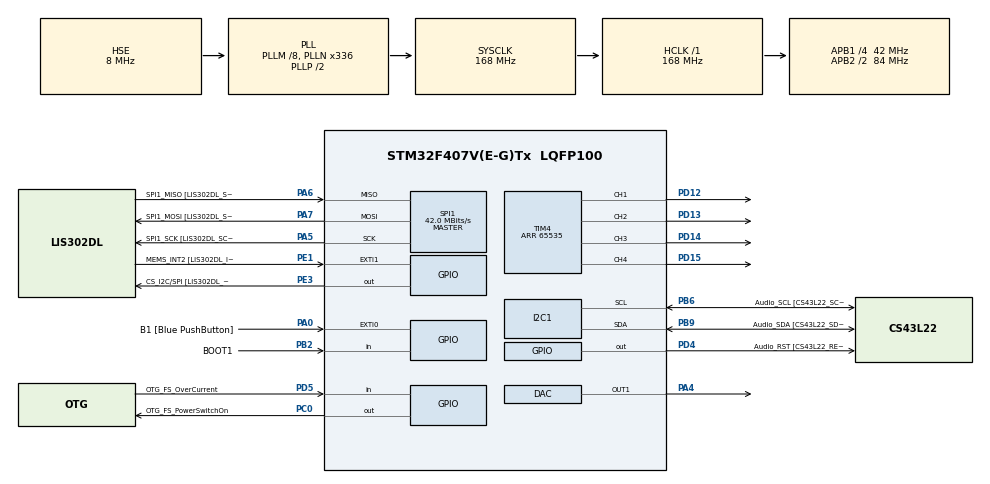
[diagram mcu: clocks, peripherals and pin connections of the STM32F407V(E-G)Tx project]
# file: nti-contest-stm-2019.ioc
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Mcu.Family=STM32F4
Mcu.Name=STM32F407V(E-G)Tx
Mcu.Package=LQFP100
NVIC.PriorityGroup=NVIC_PRIORITYGROUP_4
NVIC.TIM1_UP_TIM10_IRQn=true\:0\:0\:false\:false\:true\:true\:true
PA0-WKUP.GPIO_Label=B1 [Blue PushButton]
PA0-WKUP.GPIO_ModeDefaultEXTI=GPIO_MODE_EVT_RISING
PA0-WKUP.GPIO_PuPd=GPIO_NOPULL
PA0-WKUP.Signal=GPXTI0
PA10.GPIO_Label=OTG_FS_ID
PA10.GPIO_Mode=GPIO_MODE_AF_PP
PA10.GPIO_PuPd=GPIO_NOPULL
PA10.GPIO_Speed=GPIO_SPEED_FREQ_LOW
PA10.Signal=USB_OTG_FS_ID
PA11.GPIO_Label=OTG_FS_DM
PA11.GPIO_Mode=GPIO_MODE_AF_PP
PA11.GPIO_PuPd=GPIO_NOPULL
PA11.GPIO_Speed=GPIO_SPEED_FREQ_LOW
PA11.Signal=USB_OTG_FS_DM
PA12.GPIO_Label=OTG_FS_DP
PA12.GPIO_Mode=GPIO_MODE_AF_PP
PA12.GPIO_PuPd=GPIO_NOPULL
PA12.GPIO_Speed=GPIO_SPEED_FREQ_LOW
PA12.Signal=USB_OTG_FS_DP
PA13.GPIO_Label=SWDIO
PA13.Mode=Serial_Wire
PA13.Signal=SYS_JTMS-SWDIO
PA14.GPIO_Label=SWCLK
PA14.Mode=Serial_Wire
PA14.Signal=SYS_JTCK-SWCLK
PA4.Signal=COMP_DAC1_group
PA5.GPIO_Label=SPI1_SCK [LIS302DL_SCL/SPC]
PA5.GPIO_Mode=GPIO_MODE_AF_PP
PA5.GPIO_PuPd=GPIO_NOPULL
PA5.GPIO_Speed=GPIO_SPEED_FREQ_LOW
PA5.Mode=Full_Duplex_Master
PA5.Signal=SPI1_SCK
PA6.GPIO_Label=SPI1_MISO [LIS302DL_SDO]
PA6.GPIO_Mode=GPIO_MODE_AF_PP
PA6.GPIO_PuPd=GPIO_NOPULL
PA6.GPIO_Speed=GPIO_SPEED_FREQ_LOW
PA6.Mode=Full_Duplex_Master
PA6.Signal=SPI1_MISO
PA7.GPIO_Label=SPI1_MOSI [LIS302DL_SDA/SDI/SDO]
PA7.GPIO_Mode=GPIO_MODE_AF_PP
PA7.GPIO_PuPd=GPIO_NOPULL
PA7.GPIO_Speed=GPIO_SPEED_FREQ_LOW
PA7.Mode=Full_Duplex_Master
PA7.Signal=SPI1_MOSI
PA9.GPIO_Label=VBUS_FS
PA9.GPIO_Mode=GPIO_MODE_INPUT
PA9.GPIO_PuPd=GPIO_NOPULL
PA9.Signal=USB_OTG_FS_VBUS
PB10.GPIO_Label=CLK_IN [MP45DT02_CLK]
PB10.GPIO_Mode=GPIO_MODE_AF_PP
PB10.GPIO_PuPd=GPIO_NOPULL
PB10.GPIO_Speed=GPIO_SPEED_FREQ_LOW
PB10.Signal=I2S2_CK
PB2.GPIO_Label=BOOT1
PB2.GPIO_Mode=GPIO_MODE_INPUT
PB2.GPIO_PuPd=GPIO_NOPULL
PB2.Signal=GPIO_Input
PB3.GPIO_Label=SWO
PB3.Signal=SYS_JTDO-SWO
PB6.GPIO_Label=Audio_SCL [CS43L22_SCL]
PB6.GPIO_Mode=GPIO_MODE_AF_OD
PB6.GPIO_PuPd=GPIO_NOPULL
PB6.GPIO_Speed=GPIO_SPEED_FREQ_LOW
PB6.Mode=I2C
PB6.Signal=I2C1_SCL
PB9.GPIO_Label=Audio_SDA [CS43L22_SDA]
PB9.GPIO_Mode=GPIO_MODE_AF_OD
PB9.GPIO_PuPd=GPIO_NOPULL
PB9.GPIO_Speed=GPIO_SPEED_FREQ_LOW
PB9.Mode=I2C
PB9.Signal=I2C1_SDA
PC0.GPIO_Label=OTG_FS_PowerSwitchOn
PC0.GPIO_PuPd=GPIO_NOPULL
PC0.GPIO_Speed=GPIO_SPEED_FREQ_LOW
PC0.PinState=GPIO_PIN_SET
PC0.Signal=GPIO_Output
PC10.GPIO_Label=I2S3_SCK [CS43L22_SCLK]
PC10.GPIO_Mode=GPIO_MODE_AF_PP
PC10.GPIO_PuPd=GPIO_NOPULL
PC10.GPIO_Speed=GPIO_SPEED_FREQ_LOW
PC10.Signal=I2S3_CK
PC12.GPIO_Label=I2S3_SD [CS43L22_SDIN]
PC12.GPIO_Mode=GPIO_MODE_AF_PP
PC12.GPIO_PuPd=GPIO_NOPULL
PC12.GPIO_Speed=GPIO_SPEED_FREQ_LOW
PC12.Signal=I2S3_SD
PC14-OSC32_IN.GPIO_Label=PC14-OSC32_IN
PC14-OSC32_IN.Mode=LSE-External-Oscillator
PC14-OSC32_IN.Signal=RCC_OSC32_IN
PC15-OSC32_OUT.GPIO_Label=PC15-OSC32_OUT
PC15-OSC32_OUT.Mode=LSE-External-Oscillator
PC15-OSC32_OUT.Signal=RCC_OSC32_OUT
PC3.GPIO_Label=PDM_OUT [MP45DT02_DOUT]
PC3.GPIO_Mode=GPIO_MODE_AF_PP
PC3.GPIO_PuPd=GPIO_NOPULL
PC3.GPIO_Speed=GPIO_SPEED_FREQ_LOW
PC3.Signal=I2S2_SD
PC7.GPIO_Label=I2S3_MCK [CS43L22_MCLK]
PC7.GPIO_Mode=GPIO_MODE_AF_PP
PC7.GPIO_PuPd=GPIO_NOPULL
PC7.GPIO_Speed=GPIO_SPEED_FREQ_LOW
PC7.Signal=I2S3_MCK
PD12.Signal=S_TIM4_CH1
PD13.Signal=S_TIM4_CH2
PD14.Signal=S_TIM4_CH3
PD15.Signal=S_TIM4_CH4
PD4.GPIO_Label=Audio_RST [CS43L22_RESET]
PD4.GPIO_PuPd=GPIO_NOPULL
PD4.GPIO_Speed=GPIO_SPEED_FREQ_LOW
PD4.Signal=GPIO_Output
PD5.GPIO_Label=OTG_FS_OverCurrent
PD5.GPIO_Mode=GPIO_MODE_INPUT
PD5.GPIO_PuPd=GPIO_NOPULL
PD5.Signal=GPIO_Input
PE1.GPIO_Label=MEMS_INT2 [LIS302DL_INT2]
PE1.GPIO_ModeDefaultEXTI=GPIO_MODE_EVT_RISING
PE1.GPIO_PuPd=GPIO_NOPULL
PE1.Signal=GPXTI1
PE3.GPIO_Label=CS_I2C/SPI [LIS302DL_CS_I2C/SPI]
PE3.GPIO_PuPd=GPIO_NOPULL
PE3.GPIO_Speed=GPIO_SPEED_FREQ_LOW
PE3.Signal=GPIO_Output
PH0-OSC_IN.GPIO_Label=PH0-OSC_IN
PH0-OSC_IN.Mode=HSE-External-Oscillator
PH0-OSC_IN.Signal=RCC_OSC_IN
PH1-OSC_OUT.GPIO_Label=PH1-OSC_OUT
PH1-OSC_OUT.Mode=HSE-External-Oscillator
PH1-OSC_OUT.Signal=RCC_OSC_OUT
ProjectManager.HeapSize=0x200
ProjectManager.StackSize=0x400
ProjectManager.TargetToolchain=STM32CubeIDE
RCC.48MHZClocksFreq_Value=48000000
RCC.AHBFreq_Value=168000000
RCC.APB1CLKDivider=RCC_HCLK_DIV4
RCC.APB1Freq_Value=42000000
RCC.APB1TimFreq_Value=84000000
RCC.APB2CLKDivider=RCC_HCLK_DIV2
RCC.APB2Freq_Value=84000000
RCC.APB2TimFreq_Value=168000000
RCC.CortexFreq_Value=168000000
RCC.HCLKFreq_Value=168000000
RCC.HSE_VALUE=8000000
RCC.HSI_VALUE=16000000
RCC.PLLM=8
RCC.PLLN=336
RCC.PLLQ=7
RCC.PLLSourceVirtual=RCC_PLLSOURCE_HSE
RCC.SYSCLKFreq_VALUE=168000000
RCC.SYSCLKSource=RCC_SYSCLKSOURCE_PLLCLK
RCC.VCOOutputFreq_Value=336000000
SH.COMP_DAC1_group.0=DAC_OUT1,DAC_OUT1
SH.S_TIM4_CH1.0=TIM4_CH1,PWM Generation1 CH1
SH.S_TIM4_CH2.0=TIM4_CH2,PWM Generation2 CH2
SH.S_TIM4_CH3.0=TIM4_CH3,PWM Generation3 CH3
SH.S_TIM4_CH4.0=TIM4_CH4,PWM Generation4 CH4
SPI1.BaudRatePrescaler=SPI_BAUDRATEPRESCALER_2
SPI1.BaudRatePrescaler-Full_Duplex_Master=SPI_BAUDRATEPRESCALER_2
SPI1.CalculateBaudRate=42.0 MBits/s
SPI1.CalculateBaudRate-Full_Duplex_Master=42.0 MBits/s
SPI1.Direction=SPI_DIRECTION_2LINES
SPI1.Mode=SPI_MODE_MASTER
SPI1.Mode-Full_Duplex_Master=SPI_MODE_MASTER
SPI1.VirtualType=VM_MASTER
TIM1.Period=1
TIM1.Prescaler=215
TIM4.Channel-PWM\ Generation1\ CH1=TIM_CHANNEL_1
TIM4.Channel-PWM\ Generation2\ CH2=TIM_CHANNEL_2
TIM4.Channel-PWM\ Generation3\ CH3=TIM_CHANNEL_3
TIM4.Channel-PWM\ Generation4\ CH4=TIM_CHANNEL_4
TIM4.Period=65535
VP_TIM1_VS_ClockSourceINT.Mode=Internal
VP_TIM4_VS_ClockSourceINT.Mode=Internal
board=STM32F407G-DISC1

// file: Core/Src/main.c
/* USER CODE BEGIN Header */
/**
  ******************************************************************************
  * @file           : main.c
  * @brief          : Main program body
  ******************************************************************************
  * @attention
  *
  * <h2><center>&copy; Copyright (c) 2019 STMicroelectronics.
  * All rights reserved.</center></h2>
  *
  * This software component is licensed by ST under Ultimate Liberty license
  * SLA0044, the "License"; You may not use this file except in compliance with
  * the License. You may obtain a copy of the License at:
  *                             www.st.com/SLA0044
  *
  ******************************************************************************
  */
/* USER CODE END Header */

#include "main.h"

/* USER CODE BEGIN Includes */
#include "math.h"
/* USER CODE END Includes */

DAC_HandleTypeDef hdac;

I2C_HandleTypeDef hi2c1;

SPI_HandleTypeDef hspi1;

TIM_HandleTypeDef htim1;
TIM_HandleTypeDef htim4;

void SystemClock_Config(void);
static void MX_GPIO_Init(void);
static void MX_I2C1_Init(void);
static void MX_SPI1_Init(void);
static void MX_TIM4_Init(void);
static void MX_DAC_Init(void);
static void MX_TIM1_Init(void);

/* USER CODE BEGIN 0 */
#define N 3216
static uint16_t sine[N * 4];
// Callback
void HAL_TIM_PeriodElapsedCallback(TIM_HandleTypeDef *htim)
{
  static int val = 0;
  if (htim->Instance==TIM1) //check if the interrupt comes from TIM1
  {
    HAL_DAC_SetValue(&hdac, DAC_CHANNEL_1, DAC_ALIGN_12B_R, val);
    val = val? 0: 4095;
  }
}
/* USER CODE END 0 */

int main(void)
{
  /* USER CODE BEGIN 1 */
  uint32_t i,d;
  /* USER CODE END 1 */

  /* MCU Configuration--------------------------------------------------------*/

  /* Reset of all peripherals, Initializes the Flash interface and the Systick. */
  HAL_Init();

  /* Configure the system clock */
  SystemClock_Config();

  /* Initialize all configured peripherals */
  MX_GPIO_Init();
  MX_I2C1_Init();
  MX_SPI1_Init();
  MX_TIM4_Init();
  MX_DAC_Init();
  MX_TIM1_Init();
  /* USER CODE BEGIN 2 */
  /* Used
   * http://narodstream.ru/stm-urok-27-hal-dac/
   * http://narodstream.ru/stm-urok-28-hal-dac-triangle/
   * http://narodstream.ru/stm-urok-29-hal-dac-triangle-dma/
   * https://www.unitjuggler.com/%D0%BF%D0%B5%D1%80%D0%B5%D0%B2%D0%BE%D0%B4-frequency-%D0%B8%D0%B7-Hz-%D0%B2-ms%28p%29.html?val=20
   */
  const float A = 2047;
  const float PI = 3.1415927;
  for(int i = 0; i < N * 4; i++) {
    sine[i] = 2048 + (int16_t)(round(A * sin((i * PI) / (N * 2.0))));
  }
  //HAL_TIM_Base_Start(&htim6);
  //HAL_TIM_Base_Start_IT(&htim6);
  //HAL_DAC_Start(&hdac,DAC_CHANNEL_1);
  //HAL_DAC_Start_DMA (&hdac, DAC_CHANNEL_1,(uint32_t*)sine, N * 4,DAC_ALIGN_12B_R);
  /* CAllback gen   */
  HAL_TIM_Base_Start_IT(&htim1);
  __HAL_DAC_ENABLE(&hdac, DAC_CHANNEL_1);
  // END
  HAL_TIM_PWM_Start(&htim4, TIM_CHANNEL_1);
  HAL_TIM_PWM_Start(&htim4, TIM_CHANNEL_2);
  HAL_TIM_PWM_Start(&htim4, TIM_CHANNEL_3);
  HAL_TIM_PWM_Start(&htim4, TIM_CHANNEL_4);
  /* USER CODE END 2 */

  /* Infinite loop */
  while (1)
  {

    /* USER CODE BEGIN 3 */
	  /*
	  uint16_t arr[] = {GPIO_PIN_13, GPIO_PIN_12, GPIO_PIN_14, GPIO_PIN_15};
	  for (uint8_t i = 0; i < 4; i++) {
	    uint8_t state = HAL_GPIO_ReadPin(GPIOD, arr[i]);
	    if (state) {
	    	HAL_GPIO_TogglePin(GPIOD, arr[i]);
	    	if (i == 3) {
	    		HAL_GPIO_TogglePin(GPIOD, arr[0]);
	    	} else {
	    		HAL_GPIO_TogglePin(GPIOD, arr[i+1]);
	    	}
	    	break;
	    }
	  }*/
/*
      for(i=0;i<=524288;i++)
     {
             if(i<65536)        TIM4->CCR1=i;
             else if ((i>65535)&&(i<131072)) TIM4->CCR1=131071-i;
             else if((i>131071)&&(i<196608))        TIM4->CCR2=i-131072;
             else if ((i>196607)&&(i<262164)) TIM4->CCR2=262164-i;
             else if((i>262163)&&(i<327680))        TIM4->CCR3=i-262164;
             else if ((i>327679)&&(i<393216)) TIM4->CCR3=393216-i;
             else if((i>393216)&&(i<458752))        TIM4->CCR4=i-393216;
             else TIM4->CCR4=524288-i;
             for(d=0;d<300;d++)
             {
             }
     }
     */
  }
  /* USER CODE END 3 */
}

void SystemClock_Config(void)
{
  RCC_OscInitTypeDef RCC_OscInitStruct = {0};
  RCC_ClkInitTypeDef RCC_ClkInitStruct = {0};

  /** Configure the main internal regulator output voltage
  */
  __HAL_RCC_PWR_CLK_ENABLE();
  __HAL_PWR_VOLTAGESCALING_CONFIG(PWR_REGULATOR_VOLTAGE_SCALE1);
  /** Initializes the CPU, AHB and APB busses clocks
  */
  RCC_OscInitStruct.OscillatorType = RCC_OSCILLATORTYPE_HSE;
  RCC_OscInitStruct.HSEState = RCC_HSE_ON;
  RCC_OscInitStruct.PLL.PLLState = RCC_PLL_ON;
  RCC_OscInitStruct.PLL.PLLSource = RCC_PLLSOURCE_HSE;
  RCC_OscInitStruct.PLL.PLLM = 8;
  RCC_OscInitStruct.PLL.PLLN = 336;
  RCC_OscInitStruct.PLL.PLLP = RCC_PLLP_DIV2;
  RCC_OscInitStruct.PLL.PLLQ = 7;
  if (HAL_RCC_OscConfig(&RCC_OscInitStruct) != HAL_OK)
  {
    Error_Handler();
  }
  /** Initializes the CPU, AHB and APB busses clocks
  */
  RCC_ClkInitStruct.ClockType = RCC_CLOCKTYPE_HCLK|RCC_CLOCKTYPE_SYSCLK
                              |RCC_CLOCKTYPE_PCLK1|RCC_CLOCKTYPE_PCLK2;
  RCC_ClkInitStruct.SYSCLKSource = RCC_SYSCLKSOURCE_PLLCLK;
  RCC_ClkInitStruct.AHBCLKDivider = RCC_SYSCLK_DIV1;
  RCC_ClkInitStruct.APB1CLKDivider = RCC_HCLK_DIV4;
  RCC_ClkInitStruct.APB2CLKDivider = RCC_HCLK_DIV2;

  if (HAL_RCC_ClockConfig(&RCC_ClkInitStruct, FLASH_LATENCY_5) != HAL_OK)
  {
    Error_Handler();
  }
}

static void MX_DAC_Init(void)
{

  DAC_ChannelConfTypeDef sConfig = {0};

  /** DAC Initialization
  */
  hdac.Instance = DAC;
  if (HAL_DAC_Init(&hdac) != HAL_OK)
  {
    Error_Handler();
  }
  /** DAC channel OUT1 config
  */
  sConfig.DAC_Trigger = DAC_TRIGGER_NONE;
  sConfig.DAC_OutputBuffer = DAC_OUTPUTBUFFER_ENABLE;
  if (HAL_DAC_ConfigChannel(&hdac, &sConfig, DAC_CHANNEL_1) != HAL_OK)
  {
    Error_Handler();
  }

}

static void MX_I2C1_Init(void)
{

  hi2c1.Instance = I2C1;
  hi2c1.Init.ClockSpeed = 100000;
  hi2c1.Init.DutyCycle = I2C_DUTYCYCLE_2;
  hi2c1.Init.OwnAddress1 = 0;
  hi2c1.Init.AddressingMode = I2C_ADDRESSINGMODE_7BIT;
  hi2c1.Init.DualAddressMode = I2C_DUALADDRESS_DISABLE;
  hi2c1.Init.OwnAddress2 = 0;
  hi2c1.Init.GeneralCallMode = I2C_GENERALCALL_DISABLE;
  hi2c1.Init.NoStretchMode = I2C_NOSTRETCH_DISABLE;
  if (HAL_I2C_Init(&hi2c1) != HAL_OK)
  {
    Error_Handler();
  }

}

static void MX_SPI1_Init(void)
{

  /* SPI1 parameter configuration*/
  hspi1.Instance = SPI1;
  hspi1.Init.Mode = SPI_MODE_MASTER;
  hspi1.Init.Direction = SPI_DIRECTION_2LINES;
  hspi1.Init.DataSize = SPI_DATASIZE_8BIT;
  hspi1.Init.CLKPolarity = SPI_POLARITY_LOW;
  hspi1.Init.CLKPhase = SPI_PHASE_1EDGE;
  hspi1.Init.NSS = SPI_NSS_SOFT;
  hspi1.Init.BaudRatePrescaler = SPI_BAUDRATEPRESCALER_2;
  hspi1.Init.FirstBit = SPI_FIRSTBIT_MSB;
  hspi1.Init.TIMode = SPI_TIMODE_DISABLE;
  hspi1.Init.CRCCalculation = SPI_CRCCALCULATION_DISABLE;
  hspi1.Init.CRCPolynomial = 10;
  if (HAL_SPI_Init(&hspi1) != HAL_OK)
  {
    Error_Handler();
  }

}

static void MX_TIM1_Init(void)
{

  TIM_ClockConfigTypeDef sClockSourceConfig = {0};
  TIM_MasterConfigTypeDef sMasterConfig = {0};

  htim1.Instance = TIM1;
  htim1.Init.Prescaler = 215;
  htim1.Init.CounterMode = TIM_COUNTERMODE_UP;
  htim1.Init.Period = 1;
  htim1.Init.ClockDivision = TIM_CLOCKDIVISION_DIV1;
  htim1.Init.RepetitionCounter = 0;
  htim1.Init.AutoReloadPreload = TIM_AUTORELOAD_PRELOAD_DISABLE;
  if (HAL_TIM_Base_Init(&htim1) != HAL_OK)
  {
    Error_Handler();
  }
  sClockSourceConfig.ClockSource = TIM_CLOCKSOURCE_INTERNAL;
  if (HAL_TIM_ConfigClockSource(&htim1, &sClockSourceConfig) != HAL_OK)
  {
    Error_Handler();
  }
  sMasterConfig.MasterOutputTrigger = TIM_TRGO_RESET;
  sMasterConfig.MasterSlaveMode = TIM_MASTERSLAVEMODE_DISABLE;
  if (HAL_TIMEx_MasterConfigSynchronization(&htim1, &sMasterConfig) != HAL_OK)
  {
    Error_Handler();
  }

}

static void MX_TIM4_Init(void)
{

  TIM_ClockConfigTypeDef sClockSourceConfig = {0};
  TIM_MasterConfigTypeDef sMasterConfig = {0};
  TIM_OC_InitTypeDef sConfigOC = {0};

  htim4.Instance = TIM4;
  htim4.Init.Prescaler = 0;
  htim4.Init.CounterMode = TIM_COUNTERMODE_UP;
  htim4.Init.Period = 65535;
  htim4.Init.ClockDivision = TIM_CLOCKDIVISION_DIV1;
  htim4.Init.AutoReloadPreload = TIM_AUTORELOAD_PRELOAD_DISABLE;
  if (HAL_TIM_Base_Init(&htim4) != HAL_OK)
  {
    Error_Handler();
  }
  sClockSourceConfig.ClockSource = TIM_CLOCKSOURCE_INTERNAL;
  if (HAL_TIM_ConfigClockSource(&htim4, &sClockSourceConfig) != HAL_OK)
  {
    Error_Handler();
  }
  if (HAL_TIM_PWM_Init(&htim4) != HAL_OK)
  {
    Error_Handler();
  }
  sMasterConfig.MasterOutputTrigger = TIM_TRGO_RESET;
  sMasterConfig.MasterSlaveMode = TIM_MASTERSLAVEMODE_DISABLE;
  if (HAL_TIMEx_MasterConfigSynchronization(&htim4, &sMasterConfig) != HAL_OK)
  {
    Error_Handler();
  }
  sConfigOC.OCMode = TIM_OCMODE_PWM1;
  sConfigOC.Pulse = 0;
  sConfigOC.OCPolarity = TIM_OCPOLARITY_HIGH;
  sConfigOC.OCFastMode = TIM_OCFAST_DISABLE;
  if (HAL_TIM_PWM_ConfigChannel(&htim4, &sConfigOC, TIM_CHANNEL_1) != HAL_OK)
  {
    Error_Handler();
  }
  if (HAL_TIM_PWM_ConfigChannel(&htim4, &sConfigOC, TIM_CHANNEL_2) != HAL_OK)
  {
    Error_Handler();
  }
  if (HAL_TIM_PWM_ConfigChannel(&htim4, &sConfigOC, TIM_CHANNEL_3) != HAL_OK)
  {
    Error_Handler();
  }
  if (HAL_TIM_PWM_ConfigChannel(&htim4, &sConfigOC, TIM_CHANNEL_4) != HAL_OK)
  {
    Error_Handler();
  }
  HAL_TIM_MspPostInit(&htim4);

}

static void MX_GPIO_Init(void)
{
  GPIO_InitTypeDef GPIO_InitStruct = {0};

  /* GPIO Ports Clock Enable */
  __HAL_RCC_GPIOE_CLK_ENABLE();
  __HAL_RCC_GPIOC_CLK_ENABLE();
  __HAL_RCC_GPIOH_CLK_ENABLE();
  __HAL_RCC_GPIOA_CLK_ENABLE();
  __HAL_RCC_GPIOB_CLK_ENABLE();
  __HAL_RCC_GPIOD_CLK_ENABLE();

  /*Configure GPIO pin Output Level */
  HAL_GPIO_WritePin(CS_I2C_SPI_GPIO_Port, CS_I2C_SPI_Pin, GPIO_PIN_RESET);

  /*Configure GPIO pin Output Level */
  HAL_GPIO_WritePin(OTG_FS_PowerSwitchOn_GPIO_Port, OTG_FS_PowerSwitchOn_Pin, GPIO_PIN_SET);

  /*Configure GPIO pin Output Level */
  HAL_GPIO_WritePin(Audio_RST_GPIO_Port, Audio_RST_Pin, GPIO_PIN_RESET);

  /*Configure GPIO pin : CS_I2C_SPI_Pin */
  GPIO_InitStruct.Pin = CS_I2C_SPI_Pin;
  GPIO_InitStruct.Mode = GPIO_MODE_OUTPUT_PP;
  GPIO_InitStruct.Pull = GPIO_NOPULL;
  GPIO_InitStruct.Speed = GPIO_SPEED_FREQ_LOW;
  HAL_GPIO_Init(CS_I2C_SPI_GPIO_Port, &GPIO_InitStruct);

  /*Configure GPIO pin : OTG_FS_PowerSwitchOn_Pin */
  GPIO_InitStruct.Pin = OTG_FS_PowerSwitchOn_Pin;
  GPIO_InitStruct.Mode = GPIO_MODE_OUTPUT_PP;
  GPIO_InitStruct.Pull = GPIO_NOPULL;
  GPIO_InitStruct.Speed = GPIO_SPEED_FREQ_LOW;
  HAL_GPIO_Init(OTG_FS_PowerSwitchOn_GPIO_Port, &GPIO_InitStruct);

  /*Configure GPIO pin : PDM_OUT_Pin */
  GPIO_InitStruct.Pin = PDM_OUT_Pin;
  GPIO_InitStruct.Mode = GPIO_MODE_AF_PP;
  GPIO_InitStruct.Pull = GPIO_NOPULL;
  GPIO_InitStruct.Speed = GPIO_SPEED_FREQ_LOW;
  GPIO_InitStruct.Alternate = GPIO_AF5_SPI2;
  HAL_GPIO_Init(PDM_OUT_GPIO_Port, &GPIO_InitStruct);

  /*Configure GPIO pin : B1_Pin */
  GPIO_InitStruct.Pin = B1_Pin;
  GPIO_InitStruct.Mode = GPIO_MODE_EVT_RISING;
  GPIO_InitStruct.Pull = GPIO_NOPULL;
  HAL_GPIO_Init(B1_GPIO_Port, &GPIO_InitStruct);

  /*Configure GPIO pin : BOOT1_Pin */
  GPIO_InitStruct.Pin = BOOT1_Pin;
  GPIO_InitStruct.Mode = GPIO_MODE_INPUT;
  GPIO_InitStruct.Pull = GPIO_NOPULL;
  HAL_GPIO_Init(BOOT1_GPIO_Port, &GPIO_InitStruct);

  /*Configure GPIO pin : CLK_IN_Pin */
  GPIO_InitStruct.Pin = CLK_IN_Pin;
  GPIO_InitStruct.Mode = GPIO_MODE_AF_PP;
  GPIO_InitStruct.Pull = GPIO_NOPULL;
  GPIO_InitStruct.Speed = GPIO_SPEED_FREQ_LOW;
  GPIO_InitStruct.Alternate = GPIO_AF5_SPI2;
  HAL_GPIO_Init(CLK_IN_GPIO_Port, &GPIO_InitStruct);

  /*Configure GPIO pins : I2S3_MCK_Pin I2S3_SCK_Pin I2S3_SD_Pin */
  GPIO_InitStruct.Pin = I2S3_MCK_Pin|I2S3_SCK_Pin|I2S3_SD_Pin;
  GPIO_InitStruct.Mode = GPIO_MODE_AF_PP;
  GPIO_InitStruct.Pull = GPIO_NOPULL;
  GPIO_InitStruct.Speed = GPIO_SPEED_FREQ_LOW;
  GPIO_InitStruct.Alternate = GPIO_AF6_SPI3;
  HAL_GPIO_Init(GPIOC, &GPIO_InitStruct);

  /*Configure GPIO pin : VBUS_FS_Pin */
  GPIO_InitStruct.Pin = VBUS_FS_Pin;
  GPIO_InitStruct.Mode = GPIO_MODE_INPUT;
  GPIO_InitStruct.Pull = GPIO_NOPULL;
  HAL_GPIO_Init(VBUS_FS_GPIO_Port, &GPIO_InitStruct);

  /*Configure GPIO pins : OTG_FS_ID_Pin OTG_FS_DM_Pin OTG_FS_DP_Pin */
  GPIO_InitStruct.Pin = OTG_FS_ID_Pin|OTG_FS_DM_Pin|OTG_FS_DP_Pin;
  GPIO_InitStruct.Mode = GPIO_MODE_AF_PP;
  GPIO_InitStruct.Pull = GPIO_NOPULL;
  GPIO_InitStruct.Speed = GPIO_SPEED_FREQ_LOW;
  GPIO_InitStruct.Alternate = GPIO_AF10_OTG_FS;
  HAL_GPIO_Init(GPIOA, &GPIO_InitStruct);

  /*Configure GPIO pin : Audio_RST_Pin */
  GPIO_InitStruct.Pin = Audio_RST_Pin;
  GPIO_InitStruct.Mode = GPIO_MODE_OUTPUT_PP;
  GPIO_InitStruct.Pull = GPIO_NOPULL;
  GPIO_InitStruct.Speed = GPIO_SPEED_FREQ_LOW;
  HAL_GPIO_Init(Audio_RST_GPIO_Port, &GPIO_InitStruct);

  /*Configure GPIO pin : OTG_FS_OverCurrent_Pin */
  GPIO_InitStruct.Pin = OTG_FS_OverCurrent_Pin;
  GPIO_InitStruct.Mode = GPIO_MODE_INPUT;
  GPIO_InitStruct.Pull = GPIO_NOPULL;
  HAL_GPIO_Init(OTG_FS_OverCurrent_GPIO_Port, &GPIO_InitStruct);

  /*Configure GPIO pin : MEMS_INT2_Pin */
  GPIO_InitStruct.Pin = MEMS_INT2_Pin;
  GPIO_InitStruct.Mode = GPIO_MODE_EVT_RISING;
  GPIO_InitStruct.Pull = GPIO_NOPULL;
  HAL_GPIO_Init(MEMS_INT2_GPIO_Port, &GPIO_InitStruct);

}

void Error_Handler(void)
{
}

/************************ (C) COPYRIGHT STMicroelectronics *****END OF FILE****/
